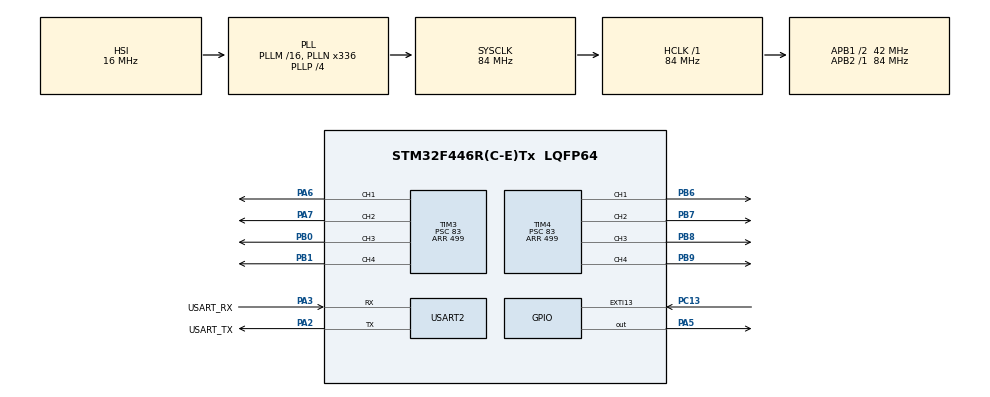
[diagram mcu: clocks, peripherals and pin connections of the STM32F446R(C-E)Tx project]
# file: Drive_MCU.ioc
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Dma.Request0=USART2_RX
Dma.Request1=USART2_TX
Dma.USART2_RX.0.Direction=DMA_PERIPH_TO_MEMORY
Dma.USART2_RX.0.FIFOMode=DMA_FIFOMODE_DISABLE
Dma.USART2_RX.0.Instance=DMA1_Stream5
Dma.USART2_RX.0.MemDataAlignment=DMA_MDATAALIGN_BYTE
Dma.USART2_RX.0.MemInc=DMA_MINC_ENABLE
Dma.USART2_RX.0.Mode=DMA_CIRCULAR
Dma.USART2_RX.0.PeriphDataAlignment=DMA_PDATAALIGN_BYTE
Dma.USART2_RX.0.PeriphInc=DMA_PINC_DISABLE
Dma.USART2_RX.0.Priority=DMA_PRIORITY_VERY_HIGH
Dma.USART2_TX.1.Direction=DMA_MEMORY_TO_PERIPH
Dma.USART2_TX.1.FIFOMode=DMA_FIFOMODE_DISABLE
Dma.USART2_TX.1.Instance=DMA1_Stream6
Dma.USART2_TX.1.MemDataAlignment=DMA_MDATAALIGN_BYTE
Dma.USART2_TX.1.MemInc=DMA_MINC_ENABLE
Dma.USART2_TX.1.Mode=DMA_NORMAL
Dma.USART2_TX.1.PeriphDataAlignment=DMA_PDATAALIGN_BYTE
Dma.USART2_TX.1.PeriphInc=DMA_PINC_DISABLE
Dma.USART2_TX.1.Priority=DMA_PRIORITY_VERY_HIGH
FREERTOS.Tasks01=defaultTask,24,3000,StartDefaultTask,Default,NULL,Dynamic,NULL,NULL
FREERTOS.configUSE_NEWLIB_REENTRANT=1
Mcu.Family=STM32F4
Mcu.Name=STM32F446R(C-E)Tx
Mcu.Package=LQFP64
NUCLEO-F446RE.BUTTON=1
NUCLEO-F446RE.LD1=true
NVIC.DMA1_Stream5_IRQn=true\:5\:0\:false\:false\:true\:true\:false\:true\:true
NVIC.DMA1_Stream6_IRQn=true\:5\:0\:false\:false\:true\:true\:false\:true\:true
NVIC.EXTI15_10_IRQn=true\:5\:0\:false\:false\:true\:true\:false\:true\:true
NVIC.PriorityGroup=NVIC_PRIORITYGROUP_4
NVIC.TIM6_DAC_IRQn=true\:0\:0\:false\:false\:true\:false\:false\:true\:true
NVIC.TimeBase=TIM6_DAC_IRQn
NVIC.TimeBaseIP=TIM6
NVIC.USART2_IRQn=true\:5\:0\:false\:false\:true\:true\:true\:true\:true
PA13.GPIO_Label=TMS
PA13.Signal=SYS_JTMS-SWDIO
PA14.GPIO_Label=TCK
PA14.Signal=SYS_JTCK-SWCLK
PA2.GPIO_Label=USART_TX
PA2.Mode=Asynchronous
PA2.Signal=USART2_TX
PA3.GPIO_Label=USART_RX
PA3.Mode=Asynchronous
PA3.Signal=USART2_RX
PA5.Signal=GPIO_Output
PA6.Signal=S_TIM3_CH1
PA7.Signal=S_TIM3_CH2
PB0.Signal=S_TIM3_CH3
PB1.Signal=S_TIM3_CH4
PB3.GPIO_Label=SWO
PB3.Signal=SYS_JTDO-SWO
PB6.Signal=S_TIM4_CH1
PB7.Signal=S_TIM4_CH2
PB8.Signal=S_TIM4_CH3
PB9.Signal=S_TIM4_CH4
PC13.Signal=GPXTI13
PC14-OSC32_IN.Signal=RCC_OSC32_IN
PC15-OSC32_OUT.Signal=RCC_OSC32_OUT
PH0-OSC_IN.Signal=RCC_OSC_IN
PH1-OSC_OUT.Signal=RCC_OSC_OUT
ProjectManager.HeapSize=0x200
ProjectManager.StackSize=0x400
ProjectManager.TargetToolchain=STM32CubeIDE
RCC.AHBFreq_Value=84000000
RCC.APB1CLKDivider=RCC_HCLK_DIV2
RCC.APB1Freq_Value=42000000
RCC.APB1TimFreq_Value=84000000
RCC.APB2Freq_Value=84000000
RCC.APB2TimFreq_Value=84000000
RCC.CortexFreq_Value=84000000
RCC.FLatency-AdvancedSettings=FLASH_LATENCY_2
RCC.HCLKFreq_Value=84000000
RCC.HSE_VALUE=8000000
RCC.HSI_VALUE=16000000
RCC.LSE_VALUE=32768
RCC.PLLN=336
RCC.PLLP=RCC_PLLP_DIV4
RCC.SYSCLKFreq_VALUE=84000000
RCC.SYSCLKSource=RCC_SYSCLKSOURCE_PLLCLK
RCC.USBFreq_Value=168000000
RCC.VCOOutputFreq_Value=336000000
SH.S_TIM3_CH1.0=TIM3_CH1,PWM Generation1 CH1
SH.S_TIM3_CH2.0=TIM3_CH2,PWM Generation2 CH2
SH.S_TIM3_CH3.0=TIM3_CH3,PWM Generation3 CH3
SH.S_TIM3_CH4.0=TIM3_CH4,PWM Generation4 CH4
SH.S_TIM4_CH1.0=TIM4_CH1,PWM Generation1 CH1
SH.S_TIM4_CH2.0=TIM4_CH2,PWM Generation2 CH2
SH.S_TIM4_CH3.0=TIM4_CH3,PWM Generation3 CH3
SH.S_TIM4_CH4.0=TIM4_CH4,PWM Generation4 CH4
TIM3.AutoReloadPreload=TIM_AUTORELOAD_PRELOAD_ENABLE
TIM3.Channel-PWM\ Generation1\ CH1=TIM_CHANNEL_1
TIM3.Channel-PWM\ Generation2\ CH2=TIM_CHANNEL_2
TIM3.Channel-PWM\ Generation3\ CH3=TIM_CHANNEL_3
TIM3.Channel-PWM\ Generation4\ CH4=TIM_CHANNEL_4
TIM3.Period=499
TIM3.Prescaler=83
TIM4.AutoReloadPreload=TIM_AUTORELOAD_PRELOAD_ENABLE
TIM4.Channel-PWM\ Generation1\ CH1=TIM_CHANNEL_1
TIM4.Channel-PWM\ Generation2\ CH2=TIM_CHANNEL_2
TIM4.Channel-PWM\ Generation3\ CH3=TIM_CHANNEL_3
TIM4.Channel-PWM\ Generation4\ CH4=TIM_CHANNEL_4
TIM4.Period=499
TIM4.Prescaler=83
USART2.VirtualMode=VM_ASYNC
VP_FREERTOS_VS_CMSIS_V2.Mode=CMSIS_V2
VP_NUCLEO-F446RE_VS_BSP_COMMON.Mode=COMMON
VP_SYS_VS_tim6.Mode=TIM6
VP_TIM3_VS_ClockSourceINT.Mode=Internal
VP_TIM4_VS_ClockSourceINT.Mode=Internal
board=NUCLEO-F446RE

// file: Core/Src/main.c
/* USER CODE BEGIN Header */
/**
  ******************************************************************************
  * @file           : main.c
  * @brief          : Main program body
  ******************************************************************************
  * @attention
  *
  * Copyright (c) 2026 STMicroelectronics.
  * All rights reserved.
  *
  * This software is licensed under terms that can be found in the LICENSE file
  * in the root directory of this software component.
  * If no LICENSE file comes with this software, it is provided AS-IS.
  *
  ******************************************************************************
  */
/* USER CODE END Header */
#include "main.h"
#include "cmsis_os.h"

/* USER CODE BEGIN Includes */

#include <stdbool.h>
#include <rcl/rcl.h>
#include <rcl/error_handling.h>
#include <rclc/rclc.h>
#include <rclc/executor.h>
#include <uxr/client/transport.h>
#include <rmw_microxrcedds_c/config.h>
#include <rmw_microros/rmw_microros.h>
#include <std_msgs/msg/int32.h>
#include <std_msgs/msg/int16_multi_array.h>
#include "motor.h"

/* USER CODE END Includes */

TIM_HandleTypeDef htim3;
TIM_HandleTypeDef htim4;

UART_HandleTypeDef huart2;
DMA_HandleTypeDef hdma_usart2_rx;
DMA_HandleTypeDef hdma_usart2_tx;

/* Definitions for defaultTask */
osThreadId_t defaultTaskHandle;
const osThreadAttr_t defaultTask_attributes = {
  .name = "defaultTask",
  .stack_size = 3000 * 4,
  .priority = (osPriority_t) osPriorityNormal,
};

void SystemClock_Config(void);
static void MX_GPIO_Init(void);
static void MX_DMA_Init(void);
static void MX_USART2_UART_Init(void);
static void MX_TIM3_Init(void);
static void MX_TIM4_Init(void);
void StartDefaultTask(void *argument);

int main(void)
{

  /* MCU Configuration--------------------------------------------------------*/

  /* Reset of all peripherals, Initializes the Flash interface and the Systick. */
  HAL_Init();

  /* Configure the system clock */
  SystemClock_Config();

  /* Initialize all configured peripherals */
  MX_GPIO_Init();
  MX_DMA_Init();
  MX_USART2_UART_Init();
  MX_TIM3_Init();
  MX_TIM4_Init();
  /* USER CODE BEGIN 2 */

  Motor_Init();   /* 8 PWM outputs running, all motors stopped */

  /* USER CODE END 2 */

  /* Init scheduler */
  osKernelInitialize();

  /* Create the thread(s) */
  /* creation of defaultTask */
  defaultTaskHandle = osThreadNew(StartDefaultTask, NULL, &defaultTask_attributes);

  /* Initialize leds */
  BSP_LED_Init(LED2);

  /* Initialize USER push-button, will be used to trigger an interrupt each time it's pressed.*/
  BSP_PB_Init(BUTTON_USER, BUTTON_MODE_EXTI);

  /* Start scheduler */
  osKernelStart();

  /* We should never get here as control is now taken by the scheduler */

  /* Infinite loop */
  while (1)
  {

  }
}

void SystemClock_Config(void)
{
  RCC_OscInitTypeDef RCC_OscInitStruct = {0};
  RCC_ClkInitTypeDef RCC_ClkInitStruct = {0};

  /** Configure the main internal regulator output voltage
  */
  __HAL_RCC_PWR_CLK_ENABLE();
  __HAL_PWR_VOLTAGESCALING_CONFIG(PWR_REGULATOR_VOLTAGE_SCALE3);

  /** Initializes the RCC Oscillators according to the specified parameters
  * in the RCC_OscInitTypeDef structure.
  */
  RCC_OscInitStruct.OscillatorType = RCC_OSCILLATORTYPE_HSI;
  RCC_OscInitStruct.HSIState = RCC_HSI_ON;
  RCC_OscInitStruct.HSICalibrationValue = RCC_HSICALIBRATION_DEFAULT;
  RCC_OscInitStruct.PLL.PLLState = RCC_PLL_ON;
  RCC_OscInitStruct.PLL.PLLSource = RCC_PLLSOURCE_HSI;
  RCC_OscInitStruct.PLL.PLLM = 16;
  RCC_OscInitStruct.PLL.PLLN = 336;
  RCC_OscInitStruct.PLL.PLLP = RCC_PLLP_DIV4;
  RCC_OscInitStruct.PLL.PLLQ = 2;
  RCC_OscInitStruct.PLL.PLLR = 2;
  if (HAL_RCC_OscConfig(&RCC_OscInitStruct) != HAL_OK)
  {
    Error_Handler();
  }

  /** Initializes the CPU, AHB and APB buses clocks
  */
  RCC_ClkInitStruct.ClockType = RCC_CLOCKTYPE_HCLK|RCC_CLOCKTYPE_SYSCLK
                              |RCC_CLOCKTYPE_PCLK1|RCC_CLOCKTYPE_PCLK2;
  RCC_ClkInitStruct.SYSCLKSource = RCC_SYSCLKSOURCE_PLLCLK;
  RCC_ClkInitStruct.AHBCLKDivider = RCC_SYSCLK_DIV1;
  RCC_ClkInitStruct.APB1CLKDivider = RCC_HCLK_DIV2;
  RCC_ClkInitStruct.APB2CLKDivider = RCC_HCLK_DIV1;

  if (HAL_RCC_ClockConfig(&RCC_ClkInitStruct, FLASH_LATENCY_2) != HAL_OK)
  {
    Error_Handler();
  }
}

static void MX_TIM3_Init(void)
{

  TIM_ClockConfigTypeDef sClockSourceConfig = {0};
  TIM_MasterConfigTypeDef sMasterConfig = {0};
  TIM_OC_InitTypeDef sConfigOC = {0};

  htim3.Instance = TIM3;
  htim3.Init.Prescaler = 83;
  htim3.Init.CounterMode = TIM_COUNTERMODE_UP;
  htim3.Init.Period = 499;
  htim3.Init.ClockDivision = TIM_CLOCKDIVISION_DIV1;
  htim3.Init.AutoReloadPreload = TIM_AUTORELOAD_PRELOAD_ENABLE;
  if (HAL_TIM_Base_Init(&htim3) != HAL_OK)
  {
    Error_Handler();
  }
  sClockSourceConfig.ClockSource = TIM_CLOCKSOURCE_INTERNAL;
  if (HAL_TIM_ConfigClockSource(&htim3, &sClockSourceConfig) != HAL_OK)
  {
    Error_Handler();
  }
  if (HAL_TIM_PWM_Init(&htim3) != HAL_OK)
  {
    Error_Handler();
  }
  sMasterConfig.MasterOutputTrigger = TIM_TRGO_RESET;
  sMasterConfig.MasterSlaveMode = TIM_MASTERSLAVEMODE_DISABLE;
  if (HAL_TIMEx_MasterConfigSynchronization(&htim3, &sMasterConfig) != HAL_OK)
  {
    Error_Handler();
  }
  sConfigOC.OCMode = TIM_OCMODE_PWM1;
  sConfigOC.Pulse = 0;
  sConfigOC.OCPolarity = TIM_OCPOLARITY_HIGH;
  sConfigOC.OCFastMode = TIM_OCFAST_DISABLE;
  if (HAL_TIM_PWM_ConfigChannel(&htim3, &sConfigOC, TIM_CHANNEL_1) != HAL_OK)
  {
    Error_Handler();
  }
  if (HAL_TIM_PWM_ConfigChannel(&htim3, &sConfigOC, TIM_CHANNEL_2) != HAL_OK)
  {
    Error_Handler();
  }
  if (HAL_TIM_PWM_ConfigChannel(&htim3, &sConfigOC, TIM_CHANNEL_3) != HAL_OK)
  {
    Error_Handler();
  }
  if (HAL_TIM_PWM_ConfigChannel(&htim3, &sConfigOC, TIM_CHANNEL_4) != HAL_OK)
  {
    Error_Handler();
  }
  HAL_TIM_MspPostInit(&htim3);

}

static void MX_TIM4_Init(void)
{

  TIM_ClockConfigTypeDef sClockSourceConfig = {0};
  TIM_MasterConfigTypeDef sMasterConfig = {0};
  TIM_OC_InitTypeDef sConfigOC = {0};

  htim4.Instance = TIM4;
  htim4.Init.Prescaler = 83;
  htim4.Init.CounterMode = TIM_COUNTERMODE_UP;
  htim4.Init.Period = 499;
  htim4.Init.ClockDivision = TIM_CLOCKDIVISION_DIV1;
  htim4.Init.AutoReloadPreload = TIM_AUTORELOAD_PRELOAD_ENABLE;
  if (HAL_TIM_Base_Init(&htim4) != HAL_OK)
  {
    Error_Handler();
  }
  sClockSourceConfig.ClockSource = TIM_CLOCKSOURCE_INTERNAL;
  if (HAL_TIM_ConfigClockSource(&htim4, &sClockSourceConfig) != HAL_OK)
  {
    Error_Handler();
  }
  if (HAL_TIM_PWM_Init(&htim4) != HAL_OK)
  {
    Error_Handler();
  }
  sMasterConfig.MasterOutputTrigger = TIM_TRGO_RESET;
  sMasterConfig.MasterSlaveMode = TIM_MASTERSLAVEMODE_DISABLE;
  if (HAL_TIMEx_MasterConfigSynchronization(&htim4, &sMasterConfig) != HAL_OK)
  {
    Error_Handler();
  }
  sConfigOC.OCMode = TIM_OCMODE_PWM1;
  sConfigOC.Pulse = 0;
  sConfigOC.OCPolarity = TIM_OCPOLARITY_HIGH;
  sConfigOC.OCFastMode = TIM_OCFAST_DISABLE;
  if (HAL_TIM_PWM_ConfigChannel(&htim4, &sConfigOC, TIM_CHANNEL_1) != HAL_OK)
  {
    Error_Handler();
  }
  if (HAL_TIM_PWM_ConfigChannel(&htim4, &sConfigOC, TIM_CHANNEL_2) != HAL_OK)
  {
    Error_Handler();
  }
  if (HAL_TIM_PWM_ConfigChannel(&htim4, &sConfigOC, TIM_CHANNEL_3) != HAL_OK)
  {
    Error_Handler();
  }
  if (HAL_TIM_PWM_ConfigChannel(&htim4, &sConfigOC, TIM_CHANNEL_4) != HAL_OK)
  {
    Error_Handler();
  }
  HAL_TIM_MspPostInit(&htim4);

}

static void MX_USART2_UART_Init(void)
{

  huart2.Instance = USART2;
  huart2.Init.BaudRate = 115200;
  huart2.Init.WordLength = UART_WORDLENGTH_8B;
  huart2.Init.StopBits = UART_STOPBITS_1;
  huart2.Init.Parity = UART_PARITY_NONE;
  huart2.Init.Mode = UART_MODE_TX_RX;
  huart2.Init.HwFlowCtl = UART_HWCONTROL_NONE;
  huart2.Init.OverSampling = UART_OVERSAMPLING_16;
  if (HAL_UART_Init(&huart2) != HAL_OK)
  {
    Error_Handler();
  }

}

static void MX_DMA_Init(void)
{

  /* DMA controller clock enable */
  __HAL_RCC_DMA1_CLK_ENABLE();

  /* DMA interrupt init */
  /* DMA1_Stream5_IRQn interrupt configuration */
  HAL_NVIC_SetPriority(DMA1_Stream5_IRQn, 5, 0);
  HAL_NVIC_EnableIRQ(DMA1_Stream5_IRQn);
  /* DMA1_Stream6_IRQn interrupt configuration */
  HAL_NVIC_SetPriority(DMA1_Stream6_IRQn, 5, 0);
  HAL_NVIC_EnableIRQ(DMA1_Stream6_IRQn);

}

static void MX_GPIO_Init(void)
{

  /* GPIO Ports Clock Enable */
  __HAL_RCC_GPIOC_CLK_ENABLE();
  __HAL_RCC_GPIOH_CLK_ENABLE();
  __HAL_RCC_GPIOA_CLK_ENABLE();
  __HAL_RCC_GPIOB_CLK_ENABLE();

}

/* USER CODE BEGIN 4 */

bool cubemx_transport_open(struct uxrCustomTransport * transport);
bool cubemx_transport_close(struct uxrCustomTransport * transport);
size_t cubemx_transport_write(struct uxrCustomTransport* transport, const uint8_t * buf, size_t len, uint8_t * err);
size_t cubemx_transport_read(struct uxrCustomTransport* transport, uint8_t* buf, size_t len, int timeout, uint8_t* err);

void * microros_allocate(size_t size, void * state);
void microros_deallocate(void * pointer, void * state);
void * microros_reallocate(void * pointer, size_t size, void * state);
void * microros_zero_allocate(size_t number_of_elements, size_t size_of_element, void * state);

/* Fast blinking LD2 = something failed */
static void error_loop(void)
{
  for (;;) { HAL_GPIO_TogglePin(LED2_GPIO_PORT, LED2_PIN); osDelay(100); }
}
#define RCCHECK(fn) { rcl_ret_t rc_ = (fn); if (rc_ != RCL_RET_OK) { error_loop(); } }

/* Time (ms) of the last /drive/motor_cmd, for the 0.5 s safety stop. */
static volatile uint32_t last_motor_cmd_tick = 0;

/* Called by the micro-ROS executor for each /drive/motor_cmd message.
   data[0] = M1 ... data[3] = M4, in percent -100..100.
   Missing values mean 0 (stop), for safety. */
static void motor_cmd_callback(const void * msgin)
{
  const std_msgs__msg__Int16MultiArray * cmd =
      (const std_msgs__msg__Int16MultiArray *) msgin;

  for (size_t i = 0; i < MOTOR_COUNT; i++)
  {
    int32_t value = (i < cmd->data.size) ? cmd->data.data[i] : 0;
    Motor_SetTarget((uint8_t) i, value);
  }
  last_motor_cmd_tick = osKernelGetTickCount();
}

/* USER CODE END 4 */

void StartDefaultTask(void *argument)
{
  /* USER CODE BEGIN 5 */

	  /* 1. micro-ROS uses USART2 (USB cable to the Pi) */
	  rmw_uros_set_custom_transport(true, (void *) &huart2,
	      cubemx_transport_open, cubemx_transport_close,
	      cubemx_transport_write, cubemx_transport_read);

	  /* 2. micro-ROS uses FreeRTOS memory functions */
	  rcl_allocator_t freeRTOS_allocator = rcutils_get_zero_initialized_allocator();
	  freeRTOS_allocator.allocate      = microros_allocate;
	  freeRTOS_allocator.deallocate    = microros_deallocate;
	  freeRTOS_allocator.reallocate    = microros_reallocate;
	  freeRTOS_allocator.zero_allocate = microros_zero_allocate;
	  if (!rcutils_set_default_allocator(&freeRTOS_allocator)) { error_loop(); }

	  /* 3. LD2 ON = waiting for the Agent on the Pi (motors stay stopped) */
	  HAL_GPIO_WritePin(LED2_GPIO_PORT, LED2_PIN, GPIO_PIN_SET);
	  while (rmw_uros_ping_agent(100, 1) != RMW_RET_OK) { osDelay(500); }
	  HAL_GPIO_WritePin(LED2_GPIO_PORT, LED2_PIN, GPIO_PIN_RESET);

	  /* 4. Variables */
	  rcl_allocator_t allocator = rcl_get_default_allocator();
	  rclc_support_t support;
	  rcl_node_t node;
	  rcl_publisher_t heartbeat_pub;
	  std_msgs__msg__Int32 heartbeat_msg;
	  rcl_subscription_t motor_sub;
	  static std_msgs__msg__Int16MultiArray motor_msg;  /* incoming command   */
	  static int16_t motor_buffer[8];                   /* room for 8 numbers */
	  rclc_executor_t executor = rclc_executor_get_zero_initialized_executor();

	  /* 5. micro-ROS on ROS domain 42, node "drive_mcu" */
	  rcl_init_options_t init_options = rcl_get_zero_initialized_init_options();
	  RCCHECK(rcl_init_options_init(&init_options, allocator));
	  RCCHECK(rcl_init_options_set_domain_id(&init_options, 42));
	  RCCHECK(rclc_support_init_with_options(&support, 0, NULL, &init_options, &allocator));
	  RCCHECK(rclc_node_init_default(&node, "drive_mcu", "", &support));

	  /* 6. Heartbeat publisher */
	  RCCHECK(rclc_publisher_init_default(&heartbeat_pub, &node,
	      ROSIDL_GET_MSG_TYPE_SUPPORT(std_msgs, msg, Int32), "/drive/heartbeat"));

	  /* 7. Motor command subscriber. On a microcontroller, an array message
	        needs memory reserved in advance: we point it to motor_buffer. */
	  motor_msg.data.data           = motor_buffer;
	  motor_msg.data.capacity       = 8;
	  motor_msg.data.size           = 0;
	  motor_msg.layout.dim.data     = NULL;
	  motor_msg.layout.dim.capacity = 0;
	  motor_msg.layout.dim.size     = 0;
	  motor_msg.layout.data_offset  = 0;
	  RCCHECK(rclc_subscription_init_default(&motor_sub, &node,
	      ROSIDL_GET_MSG_TYPE_SUPPORT(std_msgs, msg, Int16MultiArray), "/drive/motor_cmd"));

	  /* 8. Executor with 1 handle (the subscriber) */
	  RCCHECK(rclc_executor_init(&executor, &support.context, 1, &allocator));
	  RCCHECK(rclc_executor_add_subscription(&executor, &motor_sub, &motor_msg,
	      &motor_cmd_callback, ON_NEW_DATA));

	  /* 9. Main loop (1 tick = 1 ms):
	        - read commands,
	        - stop everything if no command for 0.5 s,
	        - update the motors (ramp, reverse pause),
	        - heartbeat every second. */
	  heartbeat_msg.data = 0;
	  uint32_t last_heartbeat = osKernelGetTickCount();
	  uint32_t last_update    = osKernelGetTickCount();
	  for (;;)
	  {
	    rclc_executor_spin_some(&executor, RCL_MS_TO_NS(5));

	    uint32_t now = osKernelGetTickCount();
	    if (now - last_motor_cmd_tick > MOTOR_CMD_TIMEOUT_MS) { Motor_StopAll(); }
	    Motor_Update(now - last_update);
	    last_update = now;

	    if (now - last_heartbeat >= 1000)
	    {
	      last_heartbeat += 1000;
	      if (rcl_publish(&heartbeat_pub, &heartbeat_msg, NULL) == RCL_RET_OK)
	      {
	        HAL_GPIO_TogglePin(LED2_GPIO_PORT, LED2_PIN);  /* LD2 blinks = alive */
	      }
	      heartbeat_msg.data++;
	    }
	    osDelay(10);
	  }
  /* USER CODE END 5 */
}

void HAL_TIM_PeriodElapsedCallback(TIM_HandleTypeDef *htim)
{
  if (htim->Instance == TIM6)
  {
    HAL_IncTick();
  }
}

void Error_Handler(void)
{
  __disable_irq();
  while (1)
  {
  }
}
